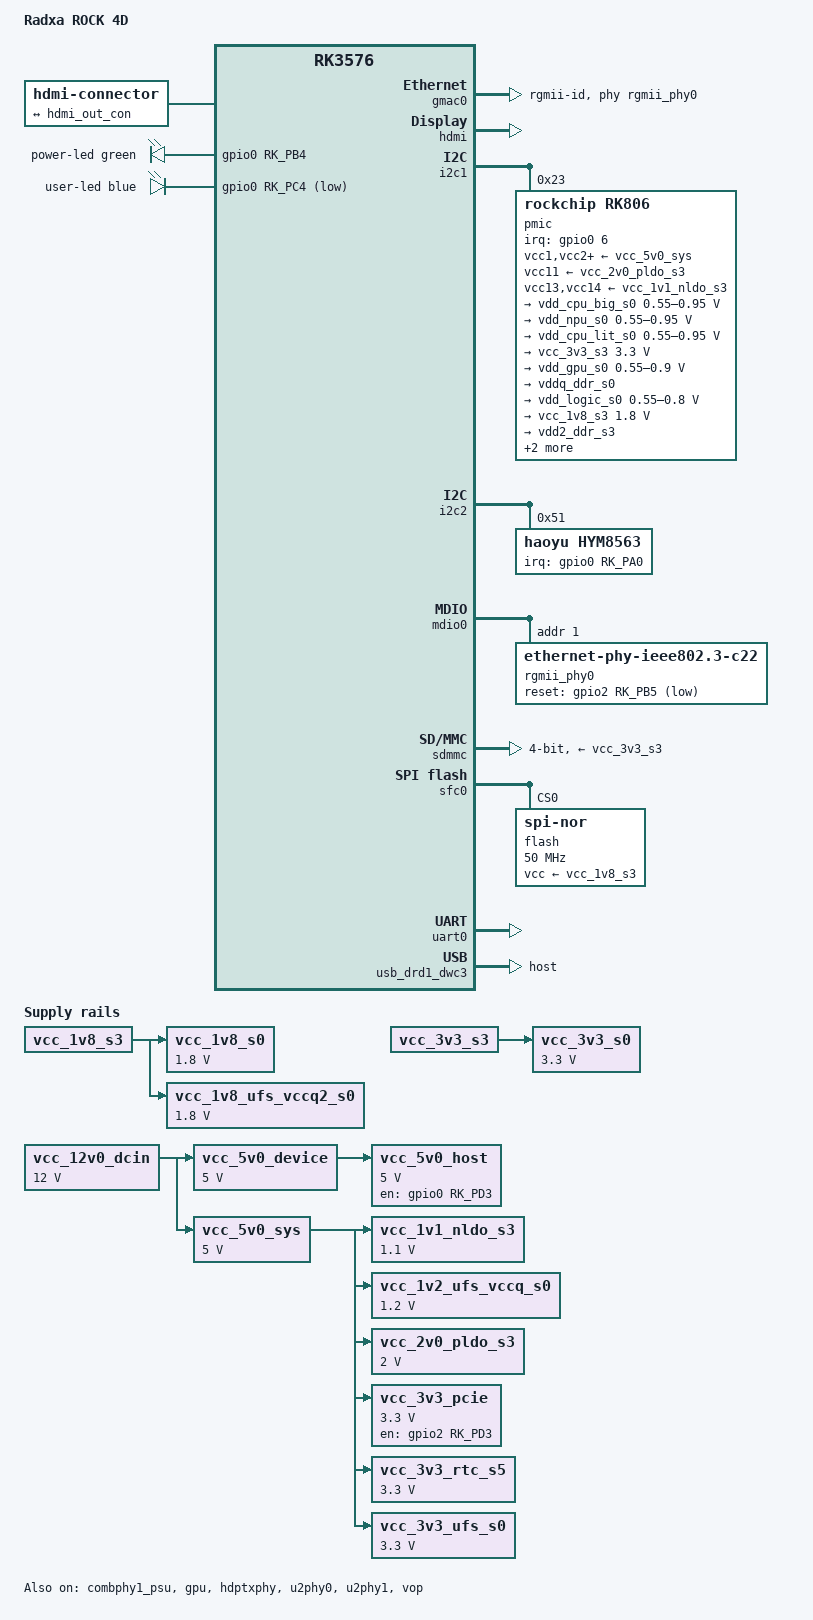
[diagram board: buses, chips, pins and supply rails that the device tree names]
// SPDX-License-Identifier: (GPL-2.0+ OR MIT)
/*
 * Copyright (c) 2024 Radxa Computer (Shenzhen) Co., Ltd.
 */

/dts-v1/;

#include <dt-bindings/gpio/gpio.h>
#include <dt-bindings/leds/common.h>
#include <dt-bindings/pinctrl/rockchip.h>
#include <dt-bindings/pwm/pwm.h>
#include <dt-bindings/soc/rockchip,vop2.h>
#include <dt-bindings/usb/pd.h>
#include "rk3576.dtsi"

/ {
	model = "Radxa ROCK 4D";
	compatible = "radxa,rock-4d", "rockchip,rk3576";

	aliases {
		ethernet0 = &gmac0;
		mmc0 = &sdmmc;
	};

	chosen {
		stdout-path = "serial0:1500000n8";
	};

	hdmi-con {
		compatible = "hdmi-connector";
		type = "a";

		port {
			hdmi_con_in: endpoint {
				remote-endpoint = <&hdmi_out_con>;
			};
		};
	};

	leds: leds {
		compatible = "gpio-leds";
		pinctrl-names = "default";
		pinctrl-0 = <&led_rgb_g &led_rgb_r>;

		power-led {
			color = <LED_COLOR_ID_GREEN>;
			function = LED_FUNCTION_STATUS;
			gpios = <&gpio0 RK_PB4 GPIO_ACTIVE_HIGH>;
			linux,default-trigger = "default-on";
		};

		user-led {
			color = <LED_COLOR_ID_BLUE>;
			function = LED_FUNCTION_HEARTBEAT;
			gpios = <&gpio0 RK_PC4 GPIO_ACTIVE_LOW>;
			linux,default-trigger = "heartbeat";
		};
	};

	vcc_12v0_dcin: regulator-vcc-12v0-dcin {
		compatible = "regulator-fixed";
		regulator-always-on;
		regulator-boot-on;
		regulator-min-microvolt = <12000000>;
		regulator-max-microvolt = <12000000>;
		regulator-name = "vcc_12v0_dcin";
	};

	vcc_1v1_nldo_s3: regulator-vcc-1v1-nldo-s3 {
		compatible = "regulator-fixed";
		regulator-always-on;
		regulator-boot-on;
		regulator-min-microvolt = <1100000>;
		regulator-max-microvolt = <1100000>;
		regulator-name = "vcc_1v1_nldo_s3";
		vin-supply = <&vcc_5v0_sys>;
	};

	vcc_1v2_ufs_vccq_s0: regulator-vcc-1v2-ufs-vccq-s0 {
		compatible = "regulator-fixed";
		regulator-always-on;
		regulator-boot-on;
		regulator-min-microvolt = <1200000>;
		regulator-max-microvolt = <1200000>;
		regulator-name = "vcc_1v2_ufs_vccq_s0";
		vin-supply = <&vcc_5v0_sys>;
	};

	vcc_1v8_s0: regulator-vcc-1v8-s0 {
		compatible = "regulator-fixed";
		regulator-always-on;
		regulator-boot-on;
		regulator-min-microvolt = <1800000>;
		regulator-max-microvolt = <1800000>;
		regulator-name = "vcc_1v8_s0";
		vin-supply = <&vcc_1v8_s3>;
	};

	vcc_1v8_ufs_vccq2_s0: regulator-vcc-1v8-ufs-vccq2-s0 {
		compatible = "regulator-fixed";
		regulator-always-on;
		regulator-boot-on;
		regulator-min-microvolt = <1800000>;
		regulator-max-microvolt = <1800000>;
		regulator-name = "vcc_1v8_ufs_vccq2_s0";
		vin-supply = <&vcc_1v8_s3>;
	};

	vcc_2v0_pldo_s3: regulator-vcc-2v0-pldo-s3 {
		compatible = "regulator-fixed";
		regulator-always-on;
		regulator-boot-on;
		regulator-min-microvolt = <2000000>;
		regulator-max-microvolt = <2000000>;
		regulator-name = "vcc_2v0_pldo_s3";
		vin-supply = <&vcc_5v0_sys>;
	};

	vcc_3v3_pcie: regulator-vcc-3v3-pcie {
		compatible = "regulator-fixed";
		enable-active-high;
		gpios = <&gpio2 RK_PD3 GPIO_ACTIVE_HIGH>;
		pinctrl-names = "default";
		pinctrl-0 = <&pcie_pwren>;
		regulator-min-microvolt = <3300000>;
		regulator-max-microvolt = <3300000>;
		regulator-name = "vcc_3v3_pcie";
		startup-delay-us = <5000>;
		vin-supply = <&vcc_5v0_sys>;
	};

	vcc_3v3_rtc_s5: regulator-vcc-3v3-rtc-s5 {
		compatible = "regulator-fixed";
		regulator-always-on;
		regulator-boot-on;
		regulator-min-microvolt = <3300000>;
		regulator-max-microvolt = <3300000>;
		regulator-name = "vcc_3v3_rtc_s5";
		vin-supply = <&vcc_5v0_sys>;
	};

	vcc_3v3_s0: regulator-vcc-3v3-s0 {
		compatible = "regulator-fixed";
		regulator-always-on;
		regulator-boot-on;
		regulator-min-microvolt = <3300000>;
		regulator-max-microvolt = <3300000>;
		regulator-name = "vcc_3v3_s0";
		vin-supply = <&vcc_3v3_s3>;
	};

	vcc_3v3_ufs_s0: regulator-vcc-ufs-s0 {
		compatible = "regulator-fixed";
		regulator-always-on;
		regulator-boot-on;
		regulator-min-microvolt = <3300000>;
		regulator-max-microvolt = <3300000>;
		regulator-name = "vcc_3v3_ufs_s0";
		vin-supply = <&vcc_5v0_sys>;
	};

	vcc_5v0_device: regulator-vcc-5v0-device {
		compatible = "regulator-fixed";
		regulator-always-on;
		regulator-boot-on;
		regulator-min-microvolt = <5000000>;
		regulator-max-microvolt = <5000000>;
		regulator-name = "vcc_5v0_device";
		vin-supply = <&vcc_12v0_dcin>;
	};

	vcc_5v0_host: regulator-vcc-5v0-host {
		compatible = "regulator-fixed";
		enable-active-high;
		gpios = <&gpio0 RK_PD3 GPIO_ACTIVE_HIGH>;
		pinctrl-names = "default";
		pinctrl-0 = <&usb_host_pwren>;
		regulator-always-on;
		regulator-boot-on;
		regulator-min-microvolt = <5000000>;
		regulator-max-microvolt = <5000000>;
		regulator-name = "vcc5v0_host";
		vin-supply = <&vcc_5v0_device>;
	};

	vcc_5v0_sys: regulator-vcc-5v0-sys {
		compatible = "regulator-fixed";
		regulator-always-on;
		regulator-boot-on;
		regulator-min-microvolt = <5000000>;
		regulator-max-microvolt = <5000000>;
		regulator-name = "vcc_5v0_sys";
		vin-supply = <&vcc_12v0_dcin>;
	};
};

&combphy1_psu {
	status = "okay";
};

&cpu_b0 {
	cpu-supply = <&vdd_cpu_big_s0>;
};

&cpu_b1 {
	cpu-supply = <&vdd_cpu_big_s0>;
};

&cpu_b2 {
	cpu-supply = <&vdd_cpu_big_s0>;
};

&cpu_b3 {
	cpu-supply = <&vdd_cpu_big_s0>;
};

&cpu_l0 {
	cpu-supply = <&vdd_cpu_lit_s0>;
};

&cpu_l1 {
	cpu-supply = <&vdd_cpu_lit_s0>;
};

&cpu_l2 {
	cpu-supply = <&vdd_cpu_lit_s0>;
};

&cpu_l3 {
	cpu-supply = <&vdd_cpu_lit_s0>;
};

&gmac0 {
	clock_in_out = "output";
	phy-handle = <&rgmii_phy0>;
	phy-mode = "rgmii-id";
	pinctrl-names = "default";
	pinctrl-0 = <&eth0m0_miim
		     &eth0m0_tx_bus2
		     &eth0m0_rx_bus2
		     &eth0m0_rgmii_clk
		     &eth0m0_rgmii_bus
		     &ethm0_clk0_25m_out>;
	status = "okay";
};

&gpu {
	mali-supply = <&vdd_gpu_s0>;
	status = "okay";
};

&hdmi {
	status = "okay";
};

&hdmi_in {
	hdmi_in_vp0: endpoint {
		remote-endpoint = <&vp0_out_hdmi>;
	};
};

&hdmi_out {
	hdmi_out_con: endpoint {
		remote-endpoint = <&hdmi_con_in>;
	};
};

&hdptxphy {
	status = "okay";
};

&i2c1 {
	status = "okay";

	pmic@23 {
		compatible = "rockchip,rk806";
		reg = <0x23>;
		#gpio-cells = <2>;
		gpio-controller;
		interrupt-parent = <&gpio0>;
		interrupts = <6 IRQ_TYPE_LEVEL_LOW>;
		pinctrl-names = "default";
		pinctrl-0 = <&pmic_pins
			     &rk806_dvs1_null
			     &rk806_dvs2_null
			     &rk806_dvs3_null>;
		system-power-controller;
		vcc1-supply = <&vcc_5v0_sys>;
		vcc2-supply = <&vcc_5v0_sys>;
		vcc3-supply = <&vcc_5v0_sys>;
		vcc4-supply = <&vcc_5v0_sys>;
		vcc5-supply = <&vcc_5v0_sys>;
		vcc6-supply = <&vcc_5v0_sys>;
		vcc7-supply = <&vcc_5v0_sys>;
		vcc8-supply = <&vcc_5v0_sys>;
		vcc9-supply = <&vcc_5v0_sys>;
		vcc10-supply = <&vcc_5v0_sys>;
		vcc11-supply = <&vcc_2v0_pldo_s3>;
		vcc12-supply = <&vcc_5v0_sys>;
		vcc13-supply = <&vcc_1v1_nldo_s3>;
		vcc14-supply = <&vcc_1v1_nldo_s3>;
		vcca-supply = <&vcc_5v0_sys>;

		rk806_dvs1_null: dvs1-null-pins {
			pins = "gpio_pwrctrl1";
			function = "pin_fun0";
		};

		rk806_dvs1_pwrdn: dvs1-pwrdn-pins {
			pins = "gpio_pwrctrl1";
			function = "pin_fun2";
		};

		rk806_dvs1_rst: dvs1-rst-pins {
			pins = "gpio_pwrctrl1";
			function = "pin_fun3";
		};

		rk806_dvs1_slp: dvs1-slp-pins {
			pins = "gpio_pwrctrl1";
			function = "pin_fun1";
		};

		rk806_dvs2_dvs: dvs2-dvs-pins {
			pins = "gpio_pwrctrl2";
			function = "pin_fun4";
		};

		rk806_dvs2_gpio: dvs2-gpio-pins {
			pins = "gpio_pwrctrl2";
			function = "pin_fun5";
		};

		rk806_dvs2_null: dvs2-null-pins {
			pins = "gpio_pwrctrl2";
			function = "pin_fun0";
		};

		rk806_dvs2_pwrdn: dvs2-pwrdn-pins {
			pins = "gpio_pwrctrl2";
			function = "pin_fun2";
		};

		rk806_dvs2_rst: dvs2-rst-pins {
			pins = "gpio_pwrctrl2";
			function = "pin_fun3";
		};

		rk806_dvs2_slp: dvs2-slp-pins {
			pins = "gpio_pwrctrl2";
			function = "pin_fun1";
		};

		rk806_dvs3_dvs: dvs3-dvs-pins {
			pins = "gpio_pwrctrl3";
			function = "pin_fun4";
		};

		rk806_dvs3_gpio: dvs3-gpio-pins {
			pins = "gpio_pwrctrl3";
			function = "pin_fun5";
		};

		rk806_dvs3_null: dvs3-null-pins {
			pins = "gpio_pwrctrl3";
			function = "pin_fun0";
		};

		rk806_dvs3_pwrdn: dvs3-pwrdn-pins {
			pins = "gpio_pwrctrl3";
			function = "pin_fun2";
		};

		rk806_dvs3_rst: dvs3-rst-pins {
			pins = "gpio_pwrctrl3";
			function = "pin_fun3";
		};

		rk806_dvs3_slp: dvs3-slp-pins {
			pins = "gpio_pwrctrl3";
			function = "pin_fun1";
		};

		regulators {
			vdd_cpu_big_s0: dcdc-reg1 {
				regulator-always-on;
				regulator-boot-on;
				regulator-enable-ramp-delay = <400>;
				regulator-min-microvolt = <550000>;
				regulator-max-microvolt = <950000>;
				regulator-name = "vdd_cpu_big_s0";
				regulator-ramp-delay = <12500>;
				regulator-state-mem {
					regulator-off-in-suspend;
				};
			};

			vdd_npu_s0: dcdc-reg2 {
				regulator-boot-on;
				regulator-enable-ramp-delay = <400>;
				regulator-min-microvolt = <550000>;
				regulator-max-microvolt = <950000>;
				regulator-name = "vdd_npu_s0";
				regulator-ramp-delay = <12500>;
				regulator-state-mem {
					regulator-off-in-suspend;
				};
			};

			vdd_cpu_lit_s0: dcdc-reg3 {
				regulator-always-on;
				regulator-boot-on;
				regulator-min-microvolt = <550000>;
				regulator-max-microvolt = <950000>;
				regulator-name = "vdd_cpu_lit_s0";
				regulator-ramp-delay = <12500>;
				regulator-state-mem {
					regulator-off-in-suspend;
					regulator-suspend-microvolt = <750000>;
				};
			};

			vcc_3v3_s3: dcdc-reg4 {
				regulator-always-on;
				regulator-boot-on;
				regulator-min-microvolt = <3300000>;
				regulator-max-microvolt = <3300000>;
				regulator-name = "vcc_3v3_s3";
				regulator-state-mem {
					regulator-on-in-suspend;
					regulator-suspend-microvolt = <3300000>;
				};
			};

			vdd_gpu_s0: dcdc-reg5 {
				regulator-boot-on;
				regulator-enable-ramp-delay = <400>;
				regulator-min-microvolt = <550000>;
				regulator-max-microvolt = <900000>;
				regulator-name = "vdd_gpu_s0";
				regulator-ramp-delay = <12500>;
				regulator-state-mem {
					regulator-off-in-suspend;
					regulator-suspend-microvolt = <850000>;
				};
			};

			vddq_ddr_s0: dcdc-reg6 {
				regulator-always-on;
				regulator-boot-on;
				regulator-name = "vddq_ddr_s0";
				regulator-state-mem {
					regulator-off-in-suspend;
				};
			};

			vdd_logic_s0: dcdc-reg7 {
				regulator-always-on;
				regulator-boot-on;
				regulator-min-microvolt = <550000>;
				regulator-max-microvolt = <800000>;
				regulator-name = "vdd_logic_s0";
				regulator-state-mem {
					regulator-off-in-suspend;
				};
			};

			vcc_1v8_s3: dcdc-reg8 {
				regulator-always-on;
				regulator-boot-on;
				regulator-min-microvolt = <1800000>;
				regulator-max-microvolt = <1800000>;
				regulator-name = "vcc_1v8_s3";
				regulator-state-mem {
					regulator-on-in-suspend;
					regulator-suspend-microvolt = <1800000>;
				};
			};

			vdd2_ddr_s3: dcdc-reg9 {
				regulator-always-on;
				regulator-boot-on;
				regulator-name = "vdd2_ddr_s3";
				regulator-state-mem {
					regulator-on-in-suspend;
				};
			};

			vdd_ddr_s0: dcdc-reg10 {
				regulator-always-on;
				regulator-boot-on;
				regulator-min-microvolt = <550000>;
				regulator-max-microvolt = <1200000>;
				regulator-name = "vdd_ddr_s0";
				regulator-state-mem {
					regulator-off-in-suspend;
				};
			};

			vcca_1v8_s0: pldo-reg1 {
				regulator-always-on;
				regulator-boot-on;
				regulator-min-microvolt = <1800000>;
				regulator-max-microvolt = <1800000>;
				regulator-name = "vcca_1v8_s0";
				regulator-state-mem {
					regulator-off-in-suspend;
				};
			};

			vcca1v8_pldo2_s0: pldo-reg2 {
				regulator-always-on;
				regulator-boot-on;
				regulator-min-microvolt = <1800000>;
				regulator-max-microvolt = <1800000>;
				regulator-name = "vcca1v8_pldo2_s0";
				regulator-state-mem {
					regulator-off-in-suspend;
				};
			};

			vdda_1v2_s0: pldo-reg3 {
				regulator-always-on;
				regulator-boot-on;
				regulator-min-microvolt = <1200000>;
				regulator-max-microvolt = <1200000>;
				regulator-name = "vdda_1v2_s0";
				regulator-state-mem {
					regulator-off-in-suspend;
				};
			};

			vcca_3v3_s0: pldo-reg4 {
				regulator-always-on;
				regulator-boot-on;
				regulator-min-microvolt = <3300000>;
				regulator-max-microvolt = <3300000>;
				regulator-name = "vcca_3v3_s0";
				regulator-state-mem {
					regulator-off-in-suspend;
				};
			};

			vccio_sd_s0: pldo-reg5 {
				regulator-always-on;
				regulator-boot-on;
				regulator-min-microvolt = <1800000>;
				regulator-max-microvolt = <3300000>;
				regulator-name = "vccio_sd_s0";
				regulator-state-mem {
					regulator-off-in-suspend;
				};
			};

			vcca1v8_pldo6_s3: pldo-reg6 {
				regulator-always-on;
				regulator-boot-on;
				regulator-min-microvolt = <1800000>;
				regulator-max-microvolt = <1800000>;
				regulator-name = "vcca1v8_pldo6_s3";
				regulator-state-mem {
					regulator-on-in-suspend;
					regulator-suspend-microvolt = <1800000>;
				};
			};

			vdd_0v75_s3: nldo-reg1 {
				regulator-always-on;
				regulator-boot-on;
				regulator-min-microvolt = <750000>;
				regulator-max-microvolt = <750000>;
				regulator-name = "vdd_0v75_s3";
				regulator-state-mem {
					regulator-on-in-suspend;
					regulator-suspend-microvolt = <750000>;
				};
			};

			vdda_ddr_pll_s0: nldo-reg2 {
				regulator-always-on;
				regulator-boot-on;
				regulator-min-microvolt = <850000>;
				regulator-max-microvolt = <850000>;
				regulator-name = "vdda_ddr_pll_s0";
				regulator-state-mem {
					regulator-off-in-suspend;
				};
			};

			vdda0v75_hdmi_s0: nldo-reg3 {
				regulator-always-on;
				regulator-boot-on;
				regulator-min-microvolt = <837500>;
				regulator-max-microvolt = <837500>;
				regulator-name = "vdda0v75_hdmi_s0";
				regulator-state-mem {
					regulator-off-in-suspend;
				};
			};

			vdda_0v85_s0: nldo-reg4 {
				regulator-always-on;
				regulator-boot-on;
				regulator-min-microvolt = <850000>;
				regulator-max-microvolt = <850000>;
				regulator-name = "vdda_0v85_s0";
				regulator-state-mem {
					regulator-off-in-suspend;
				};
			};

			vdda_0v75_s0: nldo-reg5 {
				regulator-always-on;
				regulator-boot-on;
				regulator-min-microvolt = <750000>;
				regulator-max-microvolt = <750000>;
				regulator-name = "vdda_0v75_s0";
				regulator-state-mem {
					regulator-off-in-suspend;
				};
			};
		};
	};
};

&i2c2 {
	status = "okay";

	hym8563: rtc@51 {
		compatible = "haoyu,hym8563";
		reg = <0x51>;
		#clock-cells = <0>;
		clock-output-names = "hym8563";
		interrupt-parent = <&gpio0>;
		interrupts = <RK_PA0 IRQ_TYPE_LEVEL_LOW>;
		pinctrl-names = "default";
		pinctrl-0 = <&hym8563_int>;
		wakeup-source;
	};
};

&mdio0 {
	rgmii_phy0: ethernet-phy@1 {
		compatible = "ethernet-phy-ieee802.3-c22";
		reg = <0x1>;
		clocks = <&cru REFCLKO25M_GMAC0_OUT>;
		pinctrl-names = "default";
		pinctrl-0 = <&rtl8211f_rst>;
		reset-assert-us = <20000>;
		reset-deassert-us = <100000>;
		reset-gpio = <&gpio2 RK_PB5 GPIO_ACTIVE_LOW>;
	};
};

&pinctrl {
	hym8563 {
		hym8563_int: hym8563-int {
			rockchip,pins = <0 RK_PA0 RK_FUNC_GPIO &pcfg_pull_up>;
		};
	};

	leds {
		led_rgb_g: led-green-en {
			rockchip,pins = <0 RK_PB4 RK_FUNC_GPIO &pcfg_pull_none>;
		};
		led_rgb_r: led-red-en {
			rockchip,pins = <0 RK_PC4 RK_FUNC_GPIO &pcfg_pull_none>;
		};
	};

	rtl8211f {
		rtl8211f_rst: rtl8211f-rst {
			rockchip,pins = <2 RK_PB5 RK_FUNC_GPIO &pcfg_pull_none>;
		};
	};

	pcie {
		pcie_pwren: pcie-pwren {
			rockchip,pins = <2 RK_PD3 RK_FUNC_GPIO &pcfg_pull_none>;
		};
	};

	usb {
		usb_host_pwren: usb-host-pwren {
			rockchip,pins = <0 RK_PD3 RK_FUNC_GPIO &pcfg_pull_none>;
		};
	};
};

&sdmmc {
	bus-width = <4>;
	cap-mmc-highspeed;
	cap-sd-highspeed;
	disable-wp;
	max-frequency = <200000000>;
	no-sdio;
	no-mmc;
	sd-uhs-sdr104;
	vmmc-supply = <&vcc_3v3_s3>;
	vqmmc-supply = <&vccio_sd_s0>;
	status = "okay";
};


&sfc0 {
	pinctrl-names = "default";
	pinctrl-0 = <&fspi0_pins &fspi0_csn0>;
	status = "okay";

	flash@0 {
		compatible = "jedec,spi-nor";
		reg = <0>;
		spi-max-frequency = <50000000>;
		spi-rx-bus-width = <4>;
		spi-tx-bus-width = <1>;
		vcc-supply = <&vcc_1v8_s3>;
	};
};

&u2phy0 {
	status = "okay";
};

&u2phy1 {
	status = "okay";
};

&uart0 {
	pinctrl-0 = <&uart0m0_xfer>;
	status = "okay";
};

&usb_drd1_dwc3 {
	dr_mode = "host";
	status = "okay";
};

&vop {
	status = "okay";
};

&vop_mmu {
	status = "okay";
};

&vp0 {
	vp0_out_hdmi: endpoint@ROCKCHIP_VOP2_EP_HDMI0 {
		reg = <ROCKCHIP_VOP2_EP_HDMI0>;
		remote-endpoint = <&hdmi_in_vp0>;
	};
};
